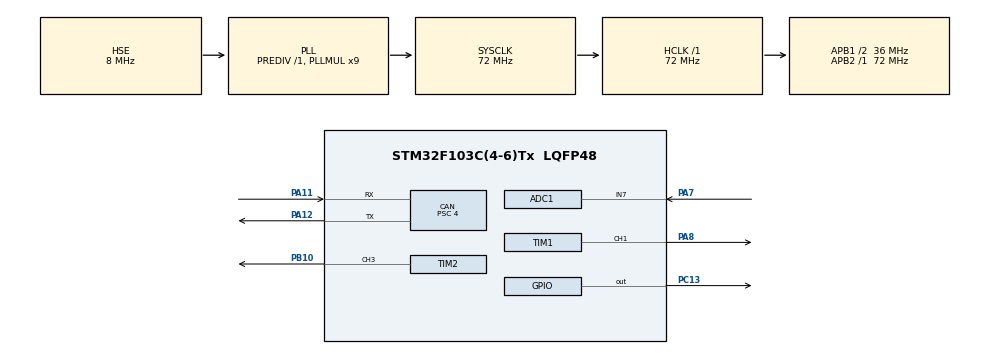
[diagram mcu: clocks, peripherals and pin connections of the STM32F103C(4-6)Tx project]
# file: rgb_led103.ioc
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ADC1.Channel-0\#ChannelRegularConversion=ADC_CHANNEL_7
ADC1.ContinuousConvMode=ENABLE
ADC1.NbrOfConversionFlag=1
ADC1.Rank-0\#ChannelRegularConversion=1
ADC1.SamplingTime-0\#ChannelRegularConversion=ADC_SAMPLETIME_13CYCLES_5
ADC1.master=1
CAN.BS1=CAN_BS1_15TQ
CAN.BS2=CAN_BS2_2TQ
CAN.CalculateBaudRate=500000
CAN.CalculateTimeBit=2000
CAN.CalculateTimeQuantum=111.11111111111111
CAN.Prescaler=4
Dma.Request0=TIM1_CH1
Dma.Request1=TIM2_CH3
Dma.TIM1_CH1.0.Direction=DMA_MEMORY_TO_PERIPH
Dma.TIM1_CH1.0.Instance=DMA1_Channel2
Dma.TIM1_CH1.0.MemDataAlignment=DMA_MDATAALIGN_HALFWORD
Dma.TIM1_CH1.0.MemInc=DMA_MINC_ENABLE
Dma.TIM1_CH1.0.Mode=DMA_NORMAL
Dma.TIM1_CH1.0.PeriphDataAlignment=DMA_PDATAALIGN_HALFWORD
Dma.TIM1_CH1.0.PeriphInc=DMA_PINC_DISABLE
Dma.TIM1_CH1.0.Priority=DMA_PRIORITY_LOW
Dma.TIM2_CH3.1.Direction=DMA_MEMORY_TO_PERIPH
Dma.TIM2_CH3.1.Instance=DMA1_Channel1
Dma.TIM2_CH3.1.MemDataAlignment=DMA_MDATAALIGN_HALFWORD
Dma.TIM2_CH3.1.MemInc=DMA_MINC_ENABLE
Dma.TIM2_CH3.1.Mode=DMA_NORMAL
Dma.TIM2_CH3.1.PeriphDataAlignment=DMA_PDATAALIGN_HALFWORD
Dma.TIM2_CH3.1.PeriphInc=DMA_PINC_DISABLE
Dma.TIM2_CH3.1.Priority=DMA_PRIORITY_LOW
Mcu.Family=STM32F1
Mcu.Name=STM32F103C(4-6)Tx
Mcu.Package=LQFP48
NVIC.DMA1_Channel1_IRQn=true\:0\:0\:false\:false\:true\:false\:true\:true
NVIC.DMA1_Channel2_IRQn=true\:0\:0\:false\:false\:true\:false\:true\:true
NVIC.PriorityGroup=NVIC_PRIORITYGROUP_4
NVIC.USB_LP_CAN1_RX0_IRQn=true\:0\:0\:false\:false\:true\:true\:true\:true
PA11.Mode=CAN_Activate
PA11.Signal=CAN_RX
PA12.Mode=CAN_Activate
PA12.Signal=CAN_TX
PA13.Mode=Serial_Wire
PA13.Signal=SYS_JTMS-SWDIO
PA14.Mode=Serial_Wire
PA14.Signal=SYS_JTCK-SWCLK
PA7.Signal=ADCx_IN7
PA8.Signal=S_TIM1_CH1
PB10.Signal=S_TIM2_CH3
PC13-TAMPER-RTC.Signal=GPIO_Output
PD0-OSC_IN.Mode=HSE-External-Oscillator
PD0-OSC_IN.Signal=RCC_OSC_IN
PD1-OSC_OUT.Mode=HSE-External-Oscillator
PD1-OSC_OUT.Signal=RCC_OSC_OUT
ProjectManager.HeapSize=0x200
ProjectManager.StackSize=0x400
ProjectManager.TargetToolchain=STM32CubeIDE
RCC.ADCPresc=RCC_ADCPCLK2_DIV6
RCC.AHBFreq_Value=72000000
RCC.APB1CLKDivider=RCC_HCLK_DIV2
RCC.APB1Freq_Value=36000000
RCC.APB1TimFreq_Value=72000000
RCC.APB2Freq_Value=72000000
RCC.APB2TimFreq_Value=72000000
RCC.HCLKFreq_Value=72000000
RCC.PLLMUL=RCC_PLL_MUL9
RCC.PLLSourceVirtual=RCC_PLLSOURCE_HSE
RCC.SYSCLKFreq_VALUE=72000000
RCC.SYSCLKSource=RCC_SYSCLKSOURCE_PLLCLK
RCC.USBFreq_Value=72000000
SH.ADCx_IN7.0=ADC1_IN7,IN7
SH.S_TIM1_CH1.0=TIM1_CH1,PWM Generation1 CH1
SH.S_TIM2_CH3.0=TIM2_CH3,PWM Generation3 CH3
TIM1.Channel-PWM\ Generation1\ CH1=TIM_CHANNEL_1
TIM1.Period=72-1
TIM2.Channel-PWM\ Generation3\ CH3=TIM_CHANNEL_3
TIM2.Period=72-1
VP_TIM1_VS_ClockSourceINT.Mode=Internal
VP_TIM2_VS_ClockSourceINT.Mode=Internal
board=custom

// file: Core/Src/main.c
/* USER CODE BEGIN Header */
/**
  ******************************************************************************
  * @file           : main.c
  * @brief          : Main program body
  ******************************************************************************
  * @attention
  *
  * Copyright (c) 2023 STMicroelectronics.
  * All rights reserved.
  *
  * This software is licensed under terms that can be found in the LICENSE file
  * in the root directory of this software component.
  * If no LICENSE file comes with this software, it is provided AS-IS.
  *
  ******************************************************************************
  */
/* USER CODE END Header */
#include "main.h"

ADC_HandleTypeDef hadc1;

CAN_HandleTypeDef hcan;

TIM_HandleTypeDef htim1;
TIM_HandleTypeDef htim2;
DMA_HandleTypeDef hdma_tim1_ch1;
DMA_HandleTypeDef hdma_tim2_ch3;

/* USER CODE BEGIN PV */

  CAN_TxHeaderTypeDef pTxHeader;
  CAN_RxHeaderTypeDef pRxHeader;
  CAN_FilterTypeDef sFilterConfig;
  uint32_t pTxMailbox;
  uint8_t RxData[2];
  uint8_t Txdata=10;
  uint8_t CanReceive=0;

/* USER CODE END PV */

void SystemClock_Config(void);
static void MX_GPIO_Init(void);
static void MX_DMA_Init(void);
static void MX_TIM1_Init(void);
static void MX_TIM2_Init(void);
static void MX_ADC1_Init(void);
static void MX_CAN_Init(void);

/* USER CODE BEGIN 0 */

#define MAX_LED 74
#define USE_BRIGHTNESS 0
#define l 15
#define RIGHT_SIGNAL MAX_LED-l
#define LEFT_SIGNAL 0
#define STOP_SIGNAL l
#define PI 3.14159265
int color;int adc_val;int adc_val2;

uint8_t LED_Data[MAX_LED][4];
uint8_t LED_Mod[MAX_LED][4];  // for brightness

int datasentflag=0;

void HAL_TIM_PWM_PulseFinishedCallback(TIM_HandleTypeDef *htim)
{
	HAL_TIM_PWM_Stop_DMA(&htim2, TIM_CHANNEL_3);
	datasentflag=1;
}

void Set_LED (int LEDnum, int Red, int Green, int Blue)
{
	LED_Data[LEDnum][0] = LEDnum;
	LED_Data[LEDnum][1] = Green;
	LED_Data[LEDnum][2] = Red;
	LED_Data[LEDnum][3] = Blue;
}

#define PI 3.14159265

void Set_Brightness (int brightness)  // 0-45
{
#if USE_BRIGHTNESS

	if (brightness > 45) brightness = 45;
	for (int i=0; i<MAX_LED; i++)
	{
		LED_Mod[i][0] = LED_Data[i][0];
		for (int j=1; j<4; j++)
		{
			float angle = 90-brightness;  // in degrees
			angle = angle*PI / 180;  // in rad
			LED_Mod[i][j] = (LED_Data[i][j])/(tan(angle));
		}
	}

#endif

}

uint16_t pwmData[(24*MAX_LED)+50];

void WS2812_Send (void)
{
	uint32_t indx=0;
	uint32_t color;

	for (int i= 0; i<MAX_LED; i++)
	{
#if USE_BRIGHTNESS
		color = ((LED_Mod[i][1]<<16) | (LED_Mod[i][2]<<8) | (LED_Mod[i][3]));
#else
		color = ((LED_Data[i][1]<<16) | (LED_Data[i][2]<<8) | (LED_Data[i][3]));
#endif

		for (int i=23; i>=0; i--)
		{
			if (color&(1<<i))
			{
				pwmData[indx] = 60;  // 2/3 of 90
			}

			else pwmData[indx] = 30;  // 1/3 of 90

			indx++;
		}

	}

	for (int i=0; i<50; i++)
	{
		pwmData[indx] = 0;
		indx++;
	}

	HAL_TIM_PWM_Start_DMA(&htim2, TIM_CHANNEL_3, (uint32_t *)pwmData, indx);
	while (!datasentflag){};
	datasentflag = 0;
}

void Reset_LED (void)
{
	for (int i=0; i<MAX_LED; i++)
	{
		LED_Data[i][0] = i;
		LED_Data[i][1] = 0;
		LED_Data[i][2] = 0;
		LED_Data[i][3] = 0;
	}
}

void right_signal(){
	for(int i=RIGHT_SIGNAL;i<MAX_LED;i++){
			  Set_LED(i, 250, 50, 0);
//			  for(int j=RIGHT_SIGNAL;j<MAX_LED;j++){
//				  if(j==i||j==i-1 || j==i-2){
//				  }else{
//					 // Set_LED(j, 0, 0, 0);
//				  }
//			  }
			  WS2812_Send();
			  HAL_Delay(20);
		  }
}

void stop_signal(){
	for(int i=14;i<74-15;i++){
		Set_LED(i, 250, 0, 0);
	}
	WS2812_Send();
	HAL_Delay(100);
}

void left_signal(){
	for(int i=14;i>=0;i--){
		Set_LED(i, 250, 50, 0);
		for(int j=14;j>=0;j--){
		if(j==i || j==i+1 || j==i+2){
		}else{
		    //Set_LED(j, 0, 0, 0);
		}
		}
		WS2812_Send();
		HAL_Delay(20);
	}
}

void stop_w_left(){
	for(int i=STOP_SIGNAL;i<MAX_LED-l;i++){
			Set_LED(i, 250, 0, 0);
	}
	for(int i=14;i>=0;i--){
		Set_LED(i, 250, 120, 0);
//		for(int j=14;j>=0;j--){
//		if(j==i || j==i+1 || j==i+2){
//		}else{
//			 Set_LED(j, 0, 0, 0);
//		}
//		}
		WS2812_Send();
		HAL_Delay(25);
	}
}
void stop_w_right(){
	for(int i=STOP_SIGNAL;i<MAX_LED-l;i++){
				Set_LED(i, 250, 0, 0);
		}
		for(int i=74-15;i<74;i++){
		Set_LED(i, 250, 120, 0);
//			for(int j=74-15;j<74;j++){
//			if(j==i || j==i-1 ||j==i-2){
//			}else{
//				 Set_LED(j, 0, 0, 0);
//			}
//			}
			WS2812_Send();
			HAL_Delay(25);
		}
}

void all_together(){
	for(int i=STOP_SIGNAL;i<MAX_LED-l;i++){
				Set_LED(i, 250, 0, 0);
		}
		for(int i=MAX_LED-l-l-1;i>=LEFT_SIGNAL;i--){
			Set_LED(i, 250, 50, 0);
			for(int j=MAX_LED-l-l;j>LEFT_SIGNAL;j--){
			if(j==i || j==i+1){
			}else{
				 Set_LED(j, 0, 0, 0);
			}
			}
			for(int i=RIGHT_SIGNAL;i<MAX_LED;i++){
						  Set_LED(i, 250, 50, 0);
						  for(int j=RIGHT_SIGNAL;j<MAX_LED;j++){
							  if(j==i||j==i-1){
							  }else{
								  Set_LED(j, 0, 0, 0);
							  }
				}
				WS2812_Send();
				HAL_Delay(15);
			}

		}
}

void all(){
	int k=0;
	int reset_p=59;
	int indexes=2;
	for(int i=STOP_SIGNAL;i<MAX_LED-l;i++){
			Set_LED(i, 250, 0, 0);
	}
	for(int i=14;i>=0;i--){
		Set_LED(i, 250, 50, 0);
		for(int j=14;j>=0;j--){

			if(j==i || j==i+1 || j==i+2 ){}
				else{
					Set_LED(j, 0, 0, 0);
				}
		}

		int led_nu = (i*4)+indexes+1;
		Set_LED(led_nu, 250, 50, 0);
		k++;
		indexes+=5;
		if(k>3){
			Set_LED(reset_p, 0, 0, 0);
			reset_p++;
		}
		if(i==0){
			Set_LED(73, 250, 50, 0);
		}

		WS2812_Send();
		Set_LED(0, 0, 0, 0);
		HAL_Delay(15);
	}
}

void left_right(){
	int k=0;
	int reset_p=59;
	int indexes=2;

	for(int i=14;i>=0;i--){
		Set_LED(i, 250, 50, 0);
		for(int j=14;j>=0;j--){

			if(j==i || j==i+1 || j==i+2 ){}
				else{
					Set_LED(j, 0, 0, 0);
				}
		}

		int led_nu = (i*4)+indexes+1;
		Set_LED(led_nu, 250, 50, 0);
		k++;
		indexes+=5;
		if(k>3){
			Set_LED(reset_p, 0, 0, 0);
			reset_p++;
		}
		if(i==0){
			Set_LED(73, 250, 50, 0);
		}

		WS2812_Send();
		Set_LED(0, 0, 0, 0);
		HAL_Delay(20);
	}
}
int value=0;
void opening_sim(){
	int k=0;
	int reset_p=37;
	int adım_say=1;
	while(1){
	for(int i=36;i>=value;i--){
		Set_LED(i, 250, 0, 0);
		for(int j=36;j>=value+2;j--){
			if(j==i || j==i+1 || j==i+2){}
			else{
				Set_LED(j, 0, 0, 0);
			}
		}
	Set_LED(i+adım_say, 250, 0, 0);
	adım_say+=2;
	k++;
	if(k>3){
		Set_LED(reset_p, 0, 0, 0);
		reset_p++;
	}
	WS2812_Send();
	HAL_Delay(5);
	}
	k=0;
	reset_p=37;
	adım_say=1;
	value+=2;

	if(value>36){break;}
	}
}

void to_visibilty(){

	int r=250;
	while(1){
		for(int i=0;i<75;i++){
			Set_LED(i, r, 0,0);
		}
		HAL_Delay(15);
		//Set_Brightness(45);
		WS2812_Send();
		r--;

		if(r==0){Reset_LED();WS2812_Send();HAL_Delay(200);break;}
	}
}
void all_reset(){
	Reset_LED();
}

#define stop stop_signal()
#define left left_signal()
#define right right_signal()
#define left_right left_right()
#define stop_w_left stop_w_left()
#define stop_w_right stop_w_right()
#define stop_left_right all()
#define all_reset all_reset()

int state=0;

uint32_t MAP(uint32_t au32_IN, uint32_t au32_INmin, uint32_t au32_INmax, uint32_t au32_OUTmin, uint32_t au32_OUTmax)
{
    return ((((au32_IN - au32_INmin)*(au32_OUTmax - au32_OUTmin))/(au32_INmax - au32_INmin)) + au32_OUTmin);
}

void All_Set_LED (int r,int b,int g)
{
	for (int i=0; i<MAX_LED; i++)
	{
		LED_Data[i][0] = i;
		LED_Data[i][1] = r;
		LED_Data[i][2] = g;
		LED_Data[i][3] = b;
	}
}

int dest[8];
void decimal_to_bin(uint8_t number){ // EX for 255 = [1][1][1][1][1][1][1][1] binary code
    for(int i=0;i<8;i++){
        dest[i] = number%2;
        number/=2;
    }
}
uint8_t can_flag=1;
/* USER CODE END 0 */

int main(void)
{

  /* MCU Configuration--------------------------------------------------------*/

  /* Reset of all peripherals, Initializes the Flash interface and the Systick. */
  HAL_Init();

  /* Configure the system clock */
  SystemClock_Config();

  /* Initialize all configured peripherals */
  MX_GPIO_Init();
  MX_DMA_Init();
  MX_TIM1_Init();
  MX_TIM2_Init();
  MX_ADC1_Init();
  MX_CAN_Init();
  /* USER CODE BEGIN 2 */

  //can comm.

  HAL_CAN_Start(&hcan);   //start can communication

  // HAL_CAN_ActivateNotification(&hcan, CAN_IT_RX_FIFO0_MSG_PENDING);  // enable interrupt
  pTxHeader.DLC = 1;
  pTxHeader.IDE = CAN_ID_STD;
  pTxHeader.RTR = CAN_RTR_DATA;
  pTxHeader.StdId = 0x13;

  //set filter parameters
  sFilterConfig.FilterActivation = ENABLE;
  sFilterConfig.FilterBank = 0;
  sFilterConfig.FilterFIFOAssignment = CAN_FILTER_FIFO0; //just communicate with relay board
  sFilterConfig.FilterIdHigh = 0x12 << 5;
  sFilterConfig.FilterIdLow = 0x12 << 5;
  sFilterConfig.FilterMaskIdHigh = 0xFF << 5;
  sFilterConfig.FilterMaskIdLow = 0xFF<< 5;
  sFilterConfig.FilterMode = CAN_FILTERMODE_IDMASK;
  sFilterConfig.FilterScale = CAN_FILTERSCALE_32BIT;

  HAL_CAN_ConfigFilter(&hcan, &sFilterConfig);

  Reset_LED();
  WS2812_Send();
  Set_Brightness(45);
  opening_sim();
  to_visibilty();
  Reset_LED();
  WS2812_Send();
  HAL_Delay(200);
  /* USER CODE END 2 */

  /* Infinite loop */
  while (1)
  {

    /* USER CODE BEGIN 3 */

   HAL_CAN_GetRxMessage(&hcan, CAN_RX_FIFO0, &pRxHeader, RxData);

   //INPUTS: 1-stop; 2-hazard; 3-left; 4-right; 5-light; 6-wiper; 7-horn; 8-switch;
   //OUTPUTS : 1-?; 2-left; 3-?; 4-light; 5-wiper; 6-horn; 7-? 8-right;

   if(pRxHeader.StdId == 0x12){   //relay id
	  if(RxData[0]==0){
		   Reset_LED();
		   WS2812_Send();
		   continue;
	  }
	  decimal_to_bin(RxData[0]);
	  //if all is 1 running this code
	  if((dest[0] && dest[1] && dest[2] && dest[3]) || (dest[0] && dest[1] && dest[2]) || (dest[0] && dest[1] && dest[3]) || (dest[0] && dest[1]) || (dest[0] && dest[2] && dest[3])){ // stop
		   stop_left_right;
		   all_reset;
		   continue;
	  }
	  else if(dest[0] && dest[2]){ // stop-left
		   stop_w_left;
		   all_reset;
		   continue;
	  }
	  else if(dest[0] && dest[3]){ // stop-right
		   stop_w_right;
		   all_reset;
		   continue;
	  }
	  else if(dest[0]){ // stop
		   stop;
		   all_reset;
		   continue;
	  }
	  else if(dest[2]){ // left
		   left;
		   all_reset;
		   continue;
	  }
	  else if(dest[3]){ // right
		   right;
		   all_reset;
		   continue;
	  }
	  else if(dest[1]){ // hazard
		   left_right;
		   all_reset;
		   continue;
	  }
	}
  }

  /* USER CODE END 3 */
}

void SystemClock_Config(void)
{
  RCC_OscInitTypeDef RCC_OscInitStruct = {0};
  RCC_ClkInitTypeDef RCC_ClkInitStruct = {0};
  RCC_PeriphCLKInitTypeDef PeriphClkInit = {0};

  /** Initializes the RCC Oscillators according to the specified parameters
  * in the RCC_OscInitTypeDef structure.
  */
  RCC_OscInitStruct.OscillatorType = RCC_OSCILLATORTYPE_HSE;
  RCC_OscInitStruct.HSEState = RCC_HSE_ON;
  RCC_OscInitStruct.HSEPredivValue = RCC_HSE_PREDIV_DIV1;
  RCC_OscInitStruct.HSIState = RCC_HSI_ON;
  RCC_OscInitStruct.PLL.PLLState = RCC_PLL_ON;
  RCC_OscInitStruct.PLL.PLLSource = RCC_PLLSOURCE_HSE;
  RCC_OscInitStruct.PLL.PLLMUL = RCC_PLL_MUL9;
  if (HAL_RCC_OscConfig(&RCC_OscInitStruct) != HAL_OK)
  {
    Error_Handler();
  }

  /** Initializes the CPU, AHB and APB buses clocks
  */
  RCC_ClkInitStruct.ClockType = RCC_CLOCKTYPE_HCLK|RCC_CLOCKTYPE_SYSCLK
                              |RCC_CLOCKTYPE_PCLK1|RCC_CLOCKTYPE_PCLK2;
  RCC_ClkInitStruct.SYSCLKSource = RCC_SYSCLKSOURCE_PLLCLK;
  RCC_ClkInitStruct.AHBCLKDivider = RCC_SYSCLK_DIV1;
  RCC_ClkInitStruct.APB1CLKDivider = RCC_HCLK_DIV2;
  RCC_ClkInitStruct.APB2CLKDivider = RCC_HCLK_DIV1;

  if (HAL_RCC_ClockConfig(&RCC_ClkInitStruct, FLASH_LATENCY_2) != HAL_OK)
  {
    Error_Handler();
  }
  PeriphClkInit.PeriphClockSelection = RCC_PERIPHCLK_ADC;
  PeriphClkInit.AdcClockSelection = RCC_ADCPCLK2_DIV6;
  if (HAL_RCCEx_PeriphCLKConfig(&PeriphClkInit) != HAL_OK)
  {
    Error_Handler();
  }
}

static void MX_ADC1_Init(void)
{

  ADC_ChannelConfTypeDef sConfig = {0};

  /** Common config
  */
  hadc1.Instance = ADC1;
  hadc1.Init.ScanConvMode = ADC_SCAN_DISABLE;
  hadc1.Init.ContinuousConvMode = ENABLE;
  hadc1.Init.DiscontinuousConvMode = DISABLE;
  hadc1.Init.ExternalTrigConv = ADC_SOFTWARE_START;
  hadc1.Init.DataAlign = ADC_DATAALIGN_RIGHT;
  hadc1.Init.NbrOfConversion = 1;
  if (HAL_ADC_Init(&hadc1) != HAL_OK)
  {
    Error_Handler();
  }

  /** Configure Regular Channel
  */
  sConfig.Channel = ADC_CHANNEL_7;
  sConfig.Rank = ADC_REGULAR_RANK_1;
  sConfig.SamplingTime = ADC_SAMPLETIME_13CYCLES_5;
  if (HAL_ADC_ConfigChannel(&hadc1, &sConfig) != HAL_OK)
  {
    Error_Handler();
  }

}

static void MX_CAN_Init(void)
{

  hcan.Instance = CAN1;
  hcan.Init.Prescaler = 4;
  hcan.Init.Mode = CAN_MODE_NORMAL;
  hcan.Init.SyncJumpWidth = CAN_SJW_1TQ;
  hcan.Init.TimeSeg1 = CAN_BS1_15TQ;
  hcan.Init.TimeSeg2 = CAN_BS2_2TQ;
  hcan.Init.TimeTriggeredMode = DISABLE;
  hcan.Init.AutoBusOff = DISABLE;
  hcan.Init.AutoWakeUp = DISABLE;
  hcan.Init.AutoRetransmission = DISABLE;
  hcan.Init.ReceiveFifoLocked = DISABLE;
  hcan.Init.TransmitFifoPriority = DISABLE;
  if (HAL_CAN_Init(&hcan) != HAL_OK)
  {
    Error_Handler();
  }

}

static void MX_TIM1_Init(void)
{

  TIM_ClockConfigTypeDef sClockSourceConfig = {0};
  TIM_MasterConfigTypeDef sMasterConfig = {0};
  TIM_OC_InitTypeDef sConfigOC = {0};
  TIM_BreakDeadTimeConfigTypeDef sBreakDeadTimeConfig = {0};

  htim1.Instance = TIM1;
  htim1.Init.Prescaler = 0;
  htim1.Init.CounterMode = TIM_COUNTERMODE_UP;
  htim1.Init.Period = 72-1;
  htim1.Init.ClockDivision = TIM_CLOCKDIVISION_DIV1;
  htim1.Init.RepetitionCounter = 0;
  htim1.Init.AutoReloadPreload = TIM_AUTORELOAD_PRELOAD_DISABLE;
  if (HAL_TIM_Base_Init(&htim1) != HAL_OK)
  {
    Error_Handler();
  }
  sClockSourceConfig.ClockSource = TIM_CLOCKSOURCE_INTERNAL;
  if (HAL_TIM_ConfigClockSource(&htim1, &sClockSourceConfig) != HAL_OK)
  {
    Error_Handler();
  }
  if (HAL_TIM_PWM_Init(&htim1) != HAL_OK)
  {
    Error_Handler();
  }
  sMasterConfig.MasterOutputTrigger = TIM_TRGO_RESET;
  sMasterConfig.MasterSlaveMode = TIM_MASTERSLAVEMODE_DISABLE;
  if (HAL_TIMEx_MasterConfigSynchronization(&htim1, &sMasterConfig) != HAL_OK)
  {
    Error_Handler();
  }
  sConfigOC.OCMode = TIM_OCMODE_PWM1;
  sConfigOC.Pulse = 0;
  sConfigOC.OCPolarity = TIM_OCPOLARITY_HIGH;
  sConfigOC.OCNPolarity = TIM_OCNPOLARITY_HIGH;
  sConfigOC.OCFastMode = TIM_OCFAST_DISABLE;
  sConfigOC.OCIdleState = TIM_OCIDLESTATE_RESET;
  sConfigOC.OCNIdleState = TIM_OCNIDLESTATE_RESET;
  if (HAL_TIM_PWM_ConfigChannel(&htim1, &sConfigOC, TIM_CHANNEL_1) != HAL_OK)
  {
    Error_Handler();
  }
  sBreakDeadTimeConfig.OffStateRunMode = TIM_OSSR_DISABLE;
  sBreakDeadTimeConfig.OffStateIDLEMode = TIM_OSSI_DISABLE;
  sBreakDeadTimeConfig.LockLevel = TIM_LOCKLEVEL_OFF;
  sBreakDeadTimeConfig.DeadTime = 0;
  sBreakDeadTimeConfig.BreakState = TIM_BREAK_DISABLE;
  sBreakDeadTimeConfig.BreakPolarity = TIM_BREAKPOLARITY_HIGH;
  sBreakDeadTimeConfig.AutomaticOutput = TIM_AUTOMATICOUTPUT_DISABLE;
  if (HAL_TIMEx_ConfigBreakDeadTime(&htim1, &sBreakDeadTimeConfig) != HAL_OK)
  {
    Error_Handler();
  }
  HAL_TIM_MspPostInit(&htim1);

}

static void MX_TIM2_Init(void)
{

  TIM_ClockConfigTypeDef sClockSourceConfig = {0};
  TIM_MasterConfigTypeDef sMasterConfig = {0};
  TIM_OC_InitTypeDef sConfigOC = {0};

  htim2.Instance = TIM2;
  htim2.Init.Prescaler = 0;
  htim2.Init.CounterMode = TIM_COUNTERMODE_UP;
  htim2.Init.Period = 72-1;
  htim2.Init.ClockDivision = TIM_CLOCKDIVISION_DIV1;
  htim2.Init.AutoReloadPreload = TIM_AUTORELOAD_PRELOAD_DISABLE;
  if (HAL_TIM_Base_Init(&htim2) != HAL_OK)
  {
    Error_Handler();
  }
  sClockSourceConfig.ClockSource = TIM_CLOCKSOURCE_INTERNAL;
  if (HAL_TIM_ConfigClockSource(&htim2, &sClockSourceConfig) != HAL_OK)
  {
    Error_Handler();
  }
  if (HAL_TIM_PWM_Init(&htim2) != HAL_OK)
  {
    Error_Handler();
  }
  sMasterConfig.MasterOutputTrigger = TIM_TRGO_RESET;
  sMasterConfig.MasterSlaveMode = TIM_MASTERSLAVEMODE_DISABLE;
  if (HAL_TIMEx_MasterConfigSynchronization(&htim2, &sMasterConfig) != HAL_OK)
  {
    Error_Handler();
  }
  sConfigOC.OCMode = TIM_OCMODE_PWM1;
  sConfigOC.Pulse = 0;
  sConfigOC.OCPolarity = TIM_OCPOLARITY_HIGH;
  sConfigOC.OCFastMode = TIM_OCFAST_DISABLE;
  if (HAL_TIM_PWM_ConfigChannel(&htim2, &sConfigOC, TIM_CHANNEL_3) != HAL_OK)
  {
    Error_Handler();
  }
  HAL_TIM_MspPostInit(&htim2);

}

static void MX_DMA_Init(void)
{

  /* DMA controller clock enable */
  __HAL_RCC_DMA1_CLK_ENABLE();

  /* DMA interrupt init */
  /* DMA1_Channel1_IRQn interrupt configuration */
  HAL_NVIC_SetPriority(DMA1_Channel1_IRQn, 0, 0);
  HAL_NVIC_EnableIRQ(DMA1_Channel1_IRQn);
  /* DMA1_Channel2_IRQn interrupt configuration */
  HAL_NVIC_SetPriority(DMA1_Channel2_IRQn, 0, 0);
  HAL_NVIC_EnableIRQ(DMA1_Channel2_IRQn);

}

static void MX_GPIO_Init(void)
{
  GPIO_InitTypeDef GPIO_InitStruct = {0};

  /* GPIO Ports Clock Enable */
  __HAL_RCC_GPIOC_CLK_ENABLE();
  __HAL_RCC_GPIOD_CLK_ENABLE();
  __HAL_RCC_GPIOA_CLK_ENABLE();
  __HAL_RCC_GPIOB_CLK_ENABLE();

  /*Configure GPIO pin Output Level */
  HAL_GPIO_WritePin(GPIOC, GPIO_PIN_13, GPIO_PIN_RESET);

  /*Configure GPIO pin : PC13 */
  GPIO_InitStruct.Pin = GPIO_PIN_13;
  GPIO_InitStruct.Mode = GPIO_MODE_OUTPUT_PP;
  GPIO_InitStruct.Pull = GPIO_NOPULL;
  GPIO_InitStruct.Speed = GPIO_SPEED_FREQ_LOW;
  HAL_GPIO_Init(GPIOC, &GPIO_InitStruct);

}

void Error_Handler(void)
{
  __disable_irq();
  while (1)
  {
  }
}
